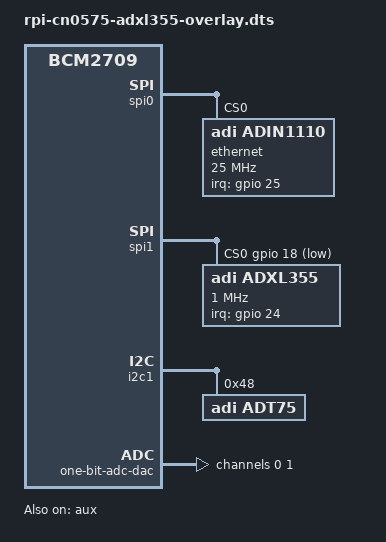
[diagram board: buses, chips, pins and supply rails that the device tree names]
// SPDX-License-Identifier: (GPL-2.0+ OR BSD-3-Clause)
/*
 * Overlay for EVAL-CN0575-RPIZ with ADXL355 accelerometer
 * CN0575 (ADIN1110 Ethernet + ADT75 temperature sensor) on SPI0 CS0 (GPIO8)
 * ADXL355 3-axis accelerometer on SPI1 CS0 (GPIO18), MODE3
 *
 * Copyright 2026 Analog Devices Inc.
 */

/dts-v1/;
/plugin/;

#include <dt-bindings/gpio/gpio.h>
#include <dt-bindings/interrupt-controller/irq.h>

/ {
	compatible = "brcm,bcm2835", "brcm,bcm2708", "brcm,bcm2709";
};

&spidev0 {
	status = "disabled";
};

&gpio {
	/* ADXL355 DRDY interrupt pin */
	adxl355_irq_pin: adxl355_irq_pin {
		brcm,pins = <24>;
		brcm,function = <0>; /* input */
	};

	/* SPI1 data pins (GPIO19=MISO, GPIO20=MOSI, GPIO21=SCK) - alt4 */
	spi1_data_pins: spi1_data_pins {
		brcm,pins = <19 20 21>;
		brcm,function = <3>; /* alt4 */
	};

	/* SPI1 CS0 pin (GPIO18) - managed as GPIO by SPI controller */
	spi1_cs_pin: spi1_cs_pin {
		brcm,pins = <18>;
		brcm,function = <1>; /* output */
		brcm,pull = <2>;
	};

	/* ADIN1110 interrupt pin (active-low) */
	cn0575_irq_pin: cn0575_irq_pin {
		brcm,pins = <25>;
		brcm,function = <0>; /* input */
		brcm,pull = <2>; /* pull-up */
	};

	gpio_overrides: gpio_overrides {
		/* ADIN1110 reset - held high */
		pin-adin1110-reset {
			pins = "gpio27";
			function = "gpio_out";
			bias-pull-up;
			output-high;
			export;
		};
	};
};

/* CN0575: ADIN1110 on SPI0 CS0 */
&spi0 {
	#address-cells = <1>;
	#size-cells = <0>;
	status = "okay";

	ethernet@0 {
		compatible = "adi,adin1110";
		reg = <0>;
		spi-max-frequency = <25000000>;

		#address-cells = <1>;
		#size-cells = <0>;

		interrupt-parent = <&gpio>;
		interrupts = <25 IRQ_TYPE_LEVEL_LOW>;
		pinctrl-names = "default";
		pinctrl-0 = <&cn0575_irq_pin>;
		mac-address = [ CA 2F B7 10 23 63 ];

		phy@0 {
			compatible = "ethernet-phy-id0283.bc91";
			reg = <0x0>;
		};
	};
};

/* Enable auxiliary peripheral block (required for SPI1) */
&aux {
	status = "okay";
};

/* ADXL355 on SPI1 CS0 (GPIO18-21) */
&spi1 {
	#address-cells = <1>;
	#size-cells = <0>;
	pinctrl-names = "default";
	pinctrl-0 = <&spi1_data_pins &spi1_cs_pin>;
	cs-gpios = <&gpio 18 1>; /* active low */
	status = "okay";

	adxl355: adxl355@0 {
		compatible = "adi,adxl355";
		reg = <0>;
		spi-max-frequency = <1000000>;
		interrupt-parent = <&gpio>;
		interrupts = <24 IRQ_TYPE_EDGE_RISING>;
		interrupt-names = "DRDY";
		pinctrl-names = "default";
		pinctrl-0 = <&adxl355_irq_pin>;
	};
};

/* CN0575: ADT75 temperature sensor on I2C1 */
&i2c1 {
	#address-cells = <1>;
	#size-cells = <0>;
	status = "okay";

	adt75@48 {
		compatible = "adi,adt75";
		reg = <0x48>;
	};
};

/* CN0575: GPIO button and LED */
&{/} {
	one-bit-adc-dac {
		compatible = "adi,one-bit-adc-dac";
		label = "gpios";
		#address-cells = <1>;
		#size-cells = <0>;
		in-gpios = <&gpio 16 (GPIO_ACTIVE_LOW | GPIO_PULL_UP)>;
		out-gpios = <&gpio 26 GPIO_ACTIVE_HIGH>;
		status = "okay";

		channel@0 {
			reg = <0>;
			label = "EXT_BTN";
		};

		channel@1 {
			reg = <1>;
			label = "EXT_LED";
		};
	};
};
